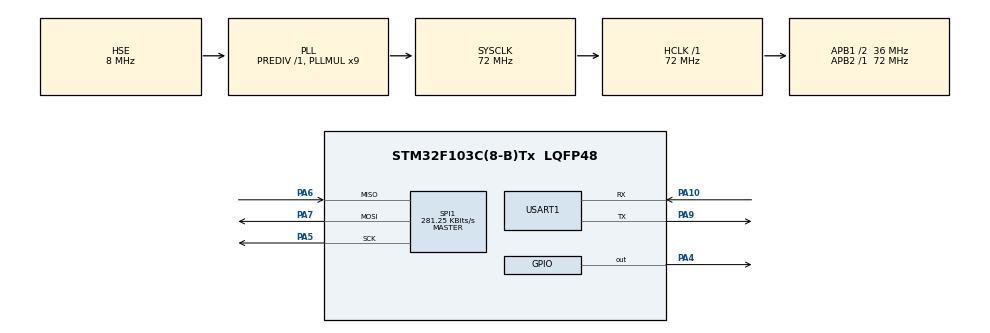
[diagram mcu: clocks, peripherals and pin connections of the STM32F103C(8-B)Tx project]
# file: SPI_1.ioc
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Mcu.Family=STM32F1
Mcu.Name=STM32F103C(8-B)Tx
Mcu.Package=LQFP48
NVIC.PriorityGroup=NVIC_PRIORITYGROUP_4
PA10.Mode=Asynchronous
PA10.Signal=USART1_RX
PA4.Signal=GPIO_Output
PA5.Mode=Full_Duplex_Master
PA5.Signal=SPI1_SCK
PA6.Mode=Full_Duplex_Master
PA6.Signal=SPI1_MISO
PA7.Mode=Full_Duplex_Master
PA7.Signal=SPI1_MOSI
PA9.Mode=Asynchronous
PA9.Signal=USART1_TX
PC14-OSC32_IN.Mode=LSE-External-Oscillator
PC14-OSC32_IN.Signal=RCC_OSC32_IN
PC15-OSC32_OUT.Mode=LSE-External-Oscillator
PC15-OSC32_OUT.Signal=RCC_OSC32_OUT
PD0-OSC_IN.Mode=HSE-External-Oscillator
PD0-OSC_IN.Signal=RCC_OSC_IN
PD1-OSC_OUT.Mode=HSE-External-Oscillator
PD1-OSC_OUT.Signal=RCC_OSC_OUT
ProjectManager.HeapSize=0x200
ProjectManager.StackSize=0x400
ProjectManager.TargetToolchain=MDK-ARM V5
RCC.AHBFreq_Value=72000000
RCC.APB1CLKDivider=RCC_HCLK_DIV2
RCC.APB1Freq_Value=36000000
RCC.APB1TimFreq_Value=72000000
RCC.APB2Freq_Value=72000000
RCC.APB2TimFreq_Value=72000000
RCC.HCLKFreq_Value=72000000
RCC.PLLMUL=RCC_PLL_MUL9
RCC.PLLSourceVirtual=RCC_PLLSOURCE_HSE
RCC.SYSCLKFreq_VALUE=72000000
RCC.SYSCLKSource=RCC_SYSCLKSOURCE_PLLCLK
RCC.USBFreq_Value=72000000
SPI1.BaudRatePrescaler=SPI_BAUDRATEPRESCALER_256
SPI1.CalculateBaudRate=281.25 KBits/s
SPI1.Direction=SPI_DIRECTION_2LINES
SPI1.Mode=SPI_MODE_MASTER
SPI1.VirtualType=VM_MASTER
USART1.VirtualMode=VM_ASYNC
VP_SYS_VS_ND.Mode=No_Debug
board=custom

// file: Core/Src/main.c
/* USER CODE BEGIN Header */
/**
  ******************************************************************************
  * @file           : main.c
  * @brief          : Main program body
  ******************************************************************************
  * @attention
  *
  * Copyright (c) 2024 STMicroelectronics.
  * All rights reserved.
  *
  * This software is licensed under terms that can be found in the LICENSE file
  * in the root directory of this software component.
  * If no LICENSE file comes with this software, it is provided AS-IS.
  *
  ******************************************************************************
  */
/* USER CODE END Header */
#include "main.h"
#include "spi.h"
#include "usart.h"
#include "gpio.h"

/* USER CODE BEGIN Includes */
#include "stdio.h"
/* USER CODE END Includes */

void SystemClock_Config(void);

/* USER CODE BEGIN 0 */
int fputc(int c,FILE*stream)
{
HAL_UART_Transmit(&huart1,(unsigned char *)&c,1,1000);
	return 1;
}
/* USER CODE END 0 */

int main(void)
{
  /* USER CODE BEGIN 1 */
	uint8_t a ;
	uint8_t b=0;
  /* USER CODE END 1 */

  /* MCU Configuration--------------------------------------------------------*/

  /* Reset of all peripherals, Initializes the Flash interface and the Systick. */
  HAL_Init();

  /* Configure the system clock */
  SystemClock_Config();

  /* Initialize all configured peripherals */
  MX_GPIO_Init();
  MX_SPI1_Init();
  MX_USART1_UART_Init();

  /* Infinite loop */
  while (1)
  {

    /* USER CODE BEGIN 3 */
		if (HAL_SPI_GetState(&hspi1) == HAL_SPI_STATE_READY)
			{
			HAL_GPIO_WritePin(GPIOA, GPIO_PIN_4, GPIO_PIN_RESET);
			HAL_SPI_Receive(&hspi1,&a,1,1000);
			HAL_GPIO_WritePin(GPIOA, GPIO_PIN_4, GPIO_PIN_SET);
			printf("可以接收");
			printf("spi数据=%d\r\n",a);
			HAL_Delay(500);
			}
			else
				{
				printf("不可用=%d\r\n",HAL_SPI_GetState(&hspi1));

        }

			if (HAL_SPI_GetState(&hspi1) == HAL_SPI_STATE_READY)
			{
			HAL_GPIO_WritePin(GPIOA, GPIO_PIN_4, GPIO_PIN_RESET);
			HAL_SPI_Transmit(&hspi1,&b,1,1000);
			HAL_GPIO_WritePin(GPIOA, GPIO_PIN_4, GPIO_PIN_SET);
			printf("可以发送");
			printf("spi数据=%d\r\n",b);
			HAL_Delay(500);
			}
			else
				{
				printf("不可用=%d\r\n",HAL_SPI_GetState(&hspi1));

        }
     b++;
				if(b==3)
				{
					b=0;
				}
  }
  /* USER CODE END 3 */
}

void SystemClock_Config(void)
{
  RCC_OscInitTypeDef RCC_OscInitStruct = {0};
  RCC_ClkInitTypeDef RCC_ClkInitStruct = {0};

  /** Initializes the RCC Oscillators according to the specified parameters
  * in the RCC_OscInitTypeDef structure.
  */
  RCC_OscInitStruct.OscillatorType = RCC_OSCILLATORTYPE_HSE;
  RCC_OscInitStruct.HSEState = RCC_HSE_ON;
  RCC_OscInitStruct.HSEPredivValue = RCC_HSE_PREDIV_DIV1;
  RCC_OscInitStruct.HSIState = RCC_HSI_ON;
  RCC_OscInitStruct.PLL.PLLState = RCC_PLL_ON;
  RCC_OscInitStruct.PLL.PLLSource = RCC_PLLSOURCE_HSE;
  RCC_OscInitStruct.PLL.PLLMUL = RCC_PLL_MUL9;
  if (HAL_RCC_OscConfig(&RCC_OscInitStruct) != HAL_OK)
  {
    Error_Handler();
  }

  /** Initializes the CPU, AHB and APB buses clocks
  */
  RCC_ClkInitStruct.ClockType = RCC_CLOCKTYPE_HCLK|RCC_CLOCKTYPE_SYSCLK
                              |RCC_CLOCKTYPE_PCLK1|RCC_CLOCKTYPE_PCLK2;
  RCC_ClkInitStruct.SYSCLKSource = RCC_SYSCLKSOURCE_PLLCLK;
  RCC_ClkInitStruct.AHBCLKDivider = RCC_SYSCLK_DIV1;
  RCC_ClkInitStruct.APB1CLKDivider = RCC_HCLK_DIV2;
  RCC_ClkInitStruct.APB2CLKDivider = RCC_HCLK_DIV1;

  if (HAL_RCC_ClockConfig(&RCC_ClkInitStruct, FLASH_LATENCY_2) != HAL_OK)
  {
    Error_Handler();
  }
}

void Error_Handler(void)
{
  __disable_irq();
  while (1)
  {
  }
}
